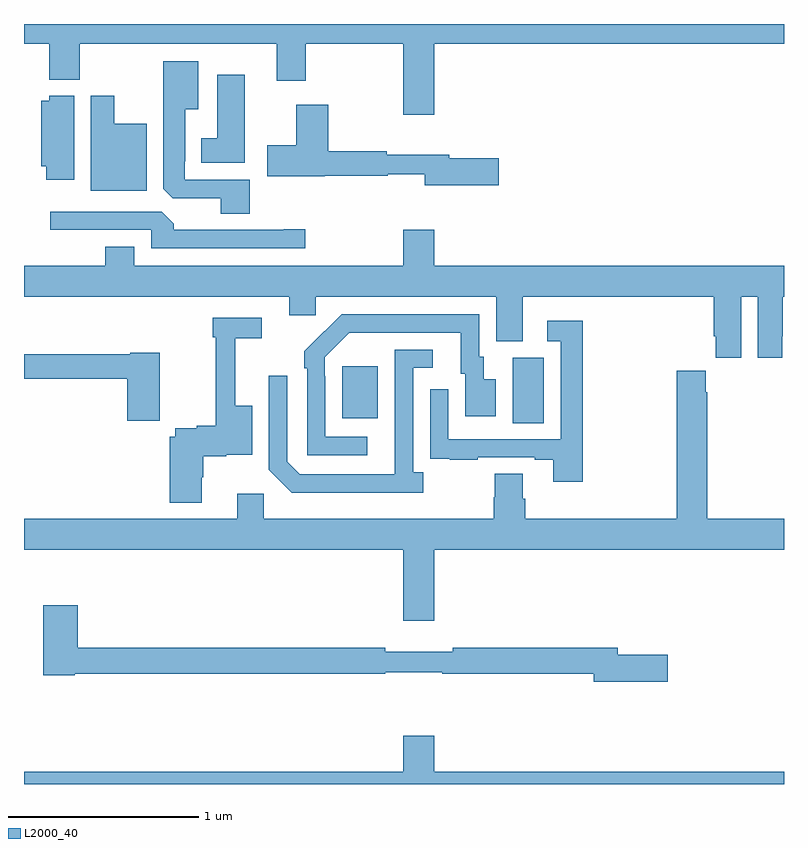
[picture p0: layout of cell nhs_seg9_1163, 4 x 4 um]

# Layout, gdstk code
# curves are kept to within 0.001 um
import gdstk
lib = gdstk.Library(unit=1e-6, precision=1e-09)
def R(c, l, rs):  # rectangles x0, y0, x1, y1
    for r in rs: c.add(gdstk.rectangle(r[:2], r[2:], *l))
def P(c, l, *ps):  # polygons
    for p in ps: c.add(gdstk.Polygon(p, *l))
L2000_40 = (2000, 40)

nhs_seg9_1163 = lib.new_cell('nhs_seg9_1163')
R(nhs_seg9_1163, L2000_40, [(177.572,1218.4,177.736,1218.744), (176.675,1218.425,176.863,1218.7)])
P(nhs_seg9_1163, L2000_40, [(177.16,1220.396),(179,1220.396),(179,1220.5),(175,1220.5),(175,1220.396),(175.133,1220.396),(175.133,1220.207),(175.293,1220.207),(175.293,1220.396),(176.33,1220.396),(176.33,1220.202),(176.483,1220.202),(176.483,1220.396),(176.996,1220.396),(176.996,1220.022),(177.16,1220.022)],
  [(176.189,1219.68),(175.845,1219.68),(175.845,1219.777),(175.849,1219.777),(175.849,1220.051),(175.918,1220.051),(175.918,1220.305),(175.733,1220.305),(175.733,1219.633),(175.782,1219.584),(176.036,1219.584),(176.036,1219.501),(176.189,1219.501)],
  [(176.161,1220.233),(176.018,1220.233),(176.018,1219.9),(175.934,1219.9),(175.934,1219.769),(176.161,1219.769)],
  [(175.645,1219.975),(175.474,1219.975),(175.474,1220.122),(175.352,1220.122),(175.352,1219.622),(175.645,1219.622)],
  [(175.264,1220.122),(175.134,1220.122),(175.134,1220.095),(175.091,1220.095),(175.091,1219.751),(175.118,1219.751),(175.118,1219.68),(175.264,1219.68)],
  [(177.499,1219.793),(177.238,1219.793),(177.238,1219.811),(176.909,1219.811),(176.909,1219.829),(176.6,1219.829),(176.6,1220.074),(176.432,1220.074),(176.432,1219.863),(176.28,1219.863),(176.28,1219.7),(176.583,1219.7),(176.583,1219.701),(176.914,1219.701),(176.914,1219.708),(177.11,1219.708),(177.11,1219.651),(177.499,1219.651)],
  [(176.479,1219.421),(176.366,1219.421),(176.366,1219.416),(175.787,1219.416),(175.787,1219.45),(175.725,1219.512),(175.137,1219.512),(175.137,1219.416),(175.671,1219.416),(175.671,1219.32),(176.479,1219.32)],
  [(178.774,1219.064),(178.862,1219.064),(178.862,1218.744),(178.992,1218.744),(178.992,1218.856),(178.993,1218.856),(178.993,1219.064),(179,1219.064),(179,1219.228),(177.16,1219.228),(177.16,1219.417),(176.996,1219.417),(176.996,1219.228),(175.579,1219.228),(175.579,1219.327),(175.427,1219.327),(175.427,1219.228),(175,1219.228),(175,1219.064),(176.396,1219.064),(176.396,1218.966),(176.535,1218.966),(176.535,1219.064),(177.485,1219.064),(177.485,1218.829),(177.625,1218.829),(177.625,1219.064),(178.631,1219.064),(178.631,1218.856),(178.64,1218.856),(178.64,1218.744),(178.774,1218.744)],
  [(176.806,1218.327),(176.586,1218.327),(176.586,1218.647),(176.583,1218.647),(176.583,1218.747),(176.712,1218.876),(177.299,1218.876),(177.299,1218.66),(177.323,1218.66),(177.323,1218.435),(177.484,1218.435),(177.484,1218.631),(177.421,1218.631),(177.421,1218.75),(177.396,1218.75),(177.396,1218.972),(176.672,1218.972),(176.475,1218.777),(176.475,1218.689),(176.49,1218.689),(176.49,1218.231),(176.806,1218.231)],
  [(175.936,1218.114),(175.944,1218.114),(175.944,1218.226),(176.064,1218.226),(176.064,1218.233),(176.2,1218.233),(176.2,1218.49),(176.111,1218.49),(176.111,1218.846),(176.251,1218.846),(176.251,1218.954),(175.993,1218.954),(175.993,1218.851),(176.008,1218.851),(176.008,1218.386),(175.908,1218.386),(175.908,1218.373),(175.796,1218.373),(175.796,1218.327),(175.766,1218.327),(175.766,1217.981),(175.936,1217.981)],
  [(177.941,1218.937),(177.753,1218.937),(177.753,1218.831),(177.825,1218.831),(177.825,1218.315),(177.234,1218.315),(177.234,1218.577),(177.138,1218.577),(177.138,1218.322),(177.139,1218.322),(177.139,1218.213),(177.241,1218.213),(177.241,1218.207),(177.389,1218.207),(177.389,1218.219),(177.689,1218.219),(177.689,1218.207),(177.785,1218.207),(177.785,1218.09),(177.941,1218.09)],
  [(177.1,1218.142),(177.048,1218.142),(177.048,1218.69),(177.151,1218.69),(177.151,1218.786),(176.952,1218.786),(176.951,1218.129),(176.451,1218.129),(176.385,1218.195),(176.385,1218.649),(176.289,1218.649),(176.289,1218.153),(176.41,1218.032),(177.1,1218.032)],
  [(175.714,1218.771),(175.56,1218.771),(175.56,1218.763),(175,1218.763),(175,1218.634),(175.544,1218.634),(175.544,1218.411),(175.714,1218.411)],
  [(177.16,1217.732),(179,1217.732),(179,1217.896),(178.596,1217.896),(178.596,1218.563),(178.589,1218.563),(178.589,1218.676),(178.436,1218.676),(178.436,1217.896),(177.638,1217.896),(177.638,1218.002),(177.625,1218.002),(177.625,1218.134),(177.478,1218.134),(177.478,1218.009),(177.473,1218.009),(177.473,1217.896),(176.262,1217.896),(176.262,1218.028),(176.123,1218.028),(176.123,1217.896),(175,1217.896),(175,1217.732),(176.996,1217.732),(176.996,1217.358),(177.16,1217.358)],
  [(178.387,1217.18),(178.126,1217.18),(178.126,1217.216),(177.256,1217.216),(177.256,1217.197),(176.9,1217.197),(176.9,1217.216),(175.283,1217.216),(175.283,1217.44),(175.1,1217.44),(175.1,1217.072),(175.266,1217.072),(175.266,1217.08),(176.902,1217.08),(176.902,1217.088),(177.202,1217.088),(177.202,1217.08),(177.998,1217.08),(177.998,1217.038),(178.387,1217.038)],
  [(179,1216.564),(177.16,1216.564),(177.16,1216.753),(176.996,1216.753),(176.996,1216.564),(175,1216.564),(175,1216.5),(179,1216.5)])

lib.write_gds('nhs_seg9_1163.gds')
